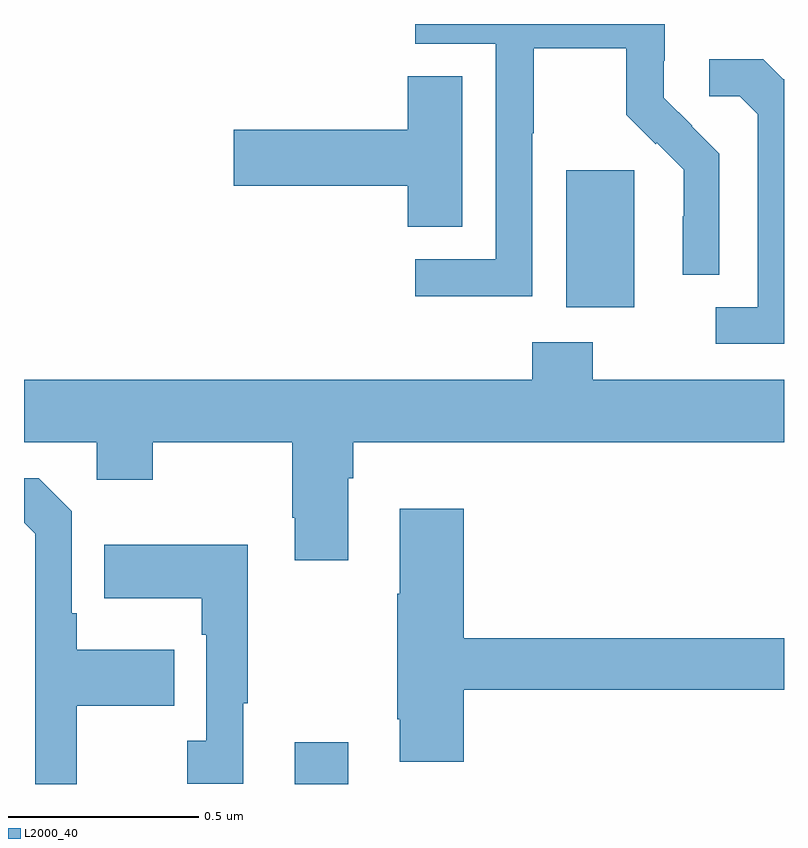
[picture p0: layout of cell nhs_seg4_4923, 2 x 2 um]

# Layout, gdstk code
import gdstk
lib = gdstk.Library(unit=1e-6, precision=1e-09)
def R(c, l, rs):  # rectangles x0, y0, x1, y1
    for r in rs: c.add(gdstk.rectangle(r[:2], r[2:], *l))
def P(c, l, *ps):  # polygons
    for p in ps: c.add(gdstk.Polygon(p, *l))
L2000_40 = (2000, 40)

nhs_seg4_4923 = lib.new_cell('nhs_seg4_4923')
R(nhs_seg4_4923, L2000_40, [(171.713,815.9,171.853,816.01), (172.427,817.154,172.606,817.515)])
P(nhs_seg4_4923, L2000_40, [(172.338,817.612),(172.341,817.612),(172.341,817.836),(172.585,817.836),(172.585,817.661),(172.662,817.584),(172.665,817.587),(172.736,817.517),(172.736,817.394),(172.734,817.394),(172.734,817.24),(172.83,817.24),(172.83,817.558),(172.757,817.631),(172.758,817.632),(172.684,817.706),(172.684,817.803),(172.686,817.803),(172.686,817.9),(172.029,817.9),(172.029,817.848),(172.242,817.848),(172.242,817.281),(172.029,817.281),(172.029,817.183),(172.338,817.183)],
  [(173,817.755),(172.998,817.755),(172.946,817.807),(172.803,817.807),(172.803,817.71),(172.884,817.71),(172.931,817.663),(172.931,817.155),(172.821,817.155),(172.821,817.059),(173,817.059)],
  [(172.153,817.763),(172.01,817.763),(172.01,817.622),(171.552,817.622),(171.552,817.475),(172.01,817.475),(172.01,817.366),(172.153,817.366)],
  [(171.853,816.704),(171.866,816.704),(171.866,816.8),(173,816.8),(173,816.964),(172.497,816.964),(172.497,817.063),(172.337,817.063),(172.337,816.964),(171,816.964),(171,816.8),(171.192,816.8),(171.192,816.701),(171.339,816.701),(171.339,816.8),(171.706,816.8),(171.706,816.601),(171.713,816.601),(171.713,816.489),(171.853,816.489)],
  [(171.139,816.106),(171.395,816.106),(171.395,816.253),(171.139,816.253),(171.139,816.349),(171.126,816.349),(171.126,816.618),(171.039,816.705),(171,816.705),(171,816.588),(171.03,816.558),(171.03,815.9),(171.139,815.9)],
  [(172.157,816.148),(173,816.148),(173,816.284),(172.157,816.284),(172.157,816.625),(171.989,816.625),(171.989,816.401),(171.982,816.401),(171.982,816.07),(171.989,816.07),(171.989,815.958),(172.157,815.958)],
  [(171.577,816.113),(171.589,816.113),(171.589,816.529),(171.211,816.529),(171.211,816.389),(171.468,816.389),(171.468,816.293),(171.48,816.293),(171.48,816.014),(171.429,816.014),(171.429,815.901),(171.577,815.901)])

lib.write_gds('nhs_seg4_4923.gds')
